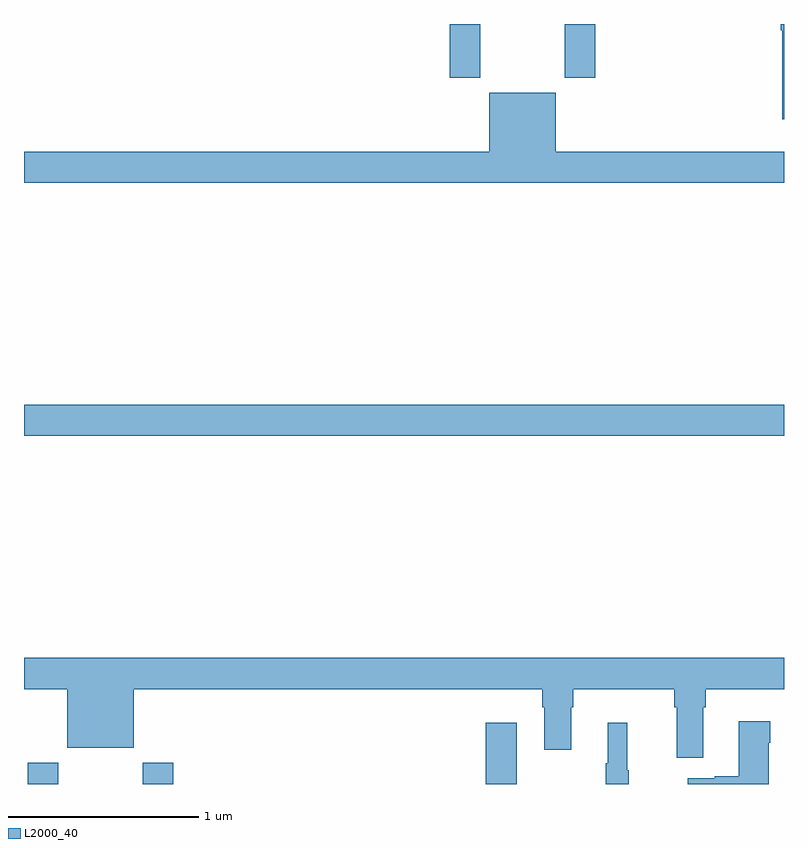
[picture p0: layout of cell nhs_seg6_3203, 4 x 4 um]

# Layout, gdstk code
import gdstk
lib = gdstk.Library(unit=1e-6, precision=1e-09)
def R(c, l, rs):  # rectangles x0, y0, x1, y1
    for r in rs: c.add(gdstk.rectangle(r[:2], r[2:], *l))
def P(c, l, *ps):  # polygons
    for p in ps: c.add(gdstk.Polygon(p, *l))
L2000_40 = (2000, 40)

nhs_seg6_3203 = lib.new_cell('nhs_seg6_3203')
R(nhs_seg6_3203, L2000_40, [(299.021,949.5,299.181,949.612), (299.626,949.5,299.786,949.612), (301.43,949.5,301.594,949.822), (299,951.332,303,951.496), (301.241,953.217,301.401,953.5), (301.846,953.217,302.006,953.5)])
P(nhs_seg6_3203, L2000_40, [(303,953.5),(302.984,953.5),(302.984,953.466),(302.99,953.466),(302.99,952.998),(303,952.998)],
  [(303,952.828),(301.798,952.828),(301.798,953.137),(301.448,953.137),(301.448,952.828),(299,952.828),(299,952.664),(303,952.664)],
  [(302.575,949.904),(302.588,949.904),(302.588,950),(303,950),(303,950.164),(299,950.164),(299,950),(299.228,950),(299.228,949.691),(299.578,949.691),(299.578,950),(301.727,950),(301.727,949.904),(301.739,949.904),(301.739,949.68),(301.879,949.68),(301.879,949.904),(301.892,949.904),(301.892,950),(302.423,950),(302.423,949.904),(302.435,949.904),(302.435,949.638),(302.575,949.638)],
  [(302.92,949.718),(302.928,949.718),(302.928,949.831),(302.762,949.831),(302.762,949.541),(302.636,949.541),(302.636,949.531),(302.493,949.531),(302.493,949.5),(302.92,949.5)],
  [(302.182,949.572),(302.174,949.572),(302.174,949.822),(302.072,949.822),(302.072,949.609),(302.061,949.609),(302.061,949.5),(302.182,949.5)])

lib.write_gds('nhs_seg6_3203.gds')
